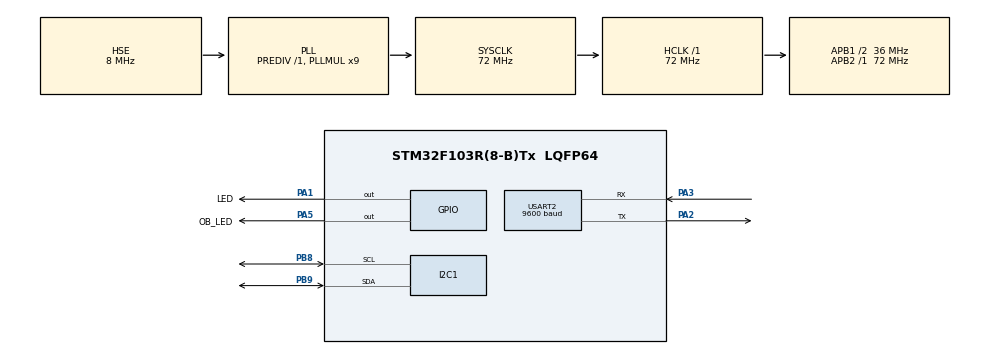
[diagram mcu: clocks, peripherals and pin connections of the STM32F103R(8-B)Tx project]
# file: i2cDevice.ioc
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Mcu.Family=STM32F1
Mcu.Name=STM32F103R(8-B)Tx
Mcu.Package=LQFP64
NVIC.PriorityGroup=NVIC_PRIORITYGROUP_4
NVIC.TIM2_IRQn=true\:0\:0\:false\:false\:true\:true\:true\:true
NVIC.USART2_IRQn=true\:0\:0\:false\:false\:true\:true\:true\:true
PA1.GPIO_Label=LED
PA1.Signal=GPIO_Output
PA13.Mode=Serial_Wire
PA13.Signal=SYS_JTMS-SWDIO
PA14.Mode=Serial_Wire
PA14.Signal=SYS_JTCK-SWCLK
PA2.Mode=Asynchronous
PA2.Signal=USART2_TX
PA3.Mode=Asynchronous
PA3.Signal=USART2_RX
PA5.GPIO_Label=OB_LED
PA5.Signal=GPIO_Output
PB8.Mode=I2C
PB8.Signal=I2C1_SCL
PB9.Mode=I2C
PB9.Signal=I2C1_SDA
PD0-OSC_IN.Mode=HSE-External-Oscillator
PD0-OSC_IN.Signal=RCC_OSC_IN
PD1-OSC_OUT.Mode=HSE-External-Oscillator
PD1-OSC_OUT.Signal=RCC_OSC_OUT
ProjectManager.HeapSize=0x200
ProjectManager.StackSize=0x400
ProjectManager.TargetToolchain=STM32CubeIDE
RCC.AHBFreq_Value=72000000
RCC.APB1CLKDivider=RCC_HCLK_DIV2
RCC.APB1Freq_Value=36000000
RCC.APB1TimFreq_Value=72000000
RCC.APB2Freq_Value=72000000
RCC.APB2TimFreq_Value=72000000
RCC.HCLKFreq_Value=72000000
RCC.PLLMUL=RCC_PLL_MUL9
RCC.PLLSourceVirtual=RCC_PLLSOURCE_HSE
RCC.SYSCLKFreq_VALUE=72000000
RCC.SYSCLKSource=RCC_SYSCLKSOURCE_PLLCLK
RCC.USBFreq_Value=72000000
TIM2.Period=99
TIM2.Prescaler=7199
USART2.BaudRate=9600
USART2.VirtualMode=VM_ASYNC
VP_TIM2_VS_ClockSourceINT.Mode=Internal
board=custom

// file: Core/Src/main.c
/* USER CODE BEGIN Header */
/**
  ******************************************************************************
  * @file           : main.c
  * @brief          : Main program body
  ******************************************************************************
  * @attention
  *
  * <h2><center>&copy; Copyright (c) 2022 STMicroelectronics.
  * All rights reserved.</center></h2>
  *
  * This software component is licensed by ST under BSD 3-Clause license,
  * the "License"; You may not use this file except in compliance with the
  * License. You may obtain a copy of the License at:
  *                        opensource.org/licenses/BSD-3-Clause
  *
  ******************************************************************************
  */
/* USER CODE END Header */
#include "main.h"

/* USER CODE BEGIN Includes */
#include "software_timer.h"
#include "scheduler.h"
#include "i2c-lcd.h"
#include "dht20.h"
#include "uart_reading.h"
/* USER CODE END Includes */

I2C_HandleTypeDef hi2c1;

TIM_HandleTypeDef htim2;

UART_HandleTypeDef huart2;

void SystemClock_Config(void);
static void MX_GPIO_Init(void);
static void MX_I2C1_Init(void);
static void MX_USART2_UART_Init(void);
static void MX_TIM2_Init(void);

/* USER CODE BEGIN 0 */
void HAL_UART_RxCpltCallback(UART_HandleTypeDef *huart){
	if (huart->Instance == USART2){
//		HAL_UART_Transmit(&huart2, &buffer_byte, 1, 500);
		buffer[index_buffer] = buffer_byte;
		index_buffer++;
		if (index_buffer == MAX_BUFFER_SIZE){
			index_buffer = 0;
			rst_buffer();
		}
		buffer_flag = 1;
		HAL_UART_Receive_IT(&huart2, &buffer_byte, 1);
	}
}

void intercep_UartCmd(){
	  if (buffer_flag == 1){
		  cmd_parser_fsm();
		  buffer_flag = 0;
	  }
}
/* USER CODE END 0 */

int main(void)
{

  /* MCU Configuration--------------------------------------------------------*/

  /* Reset of all peripherals, Initializes the Flash interface and the Systick. */
  HAL_Init();

  /* Configure the system clock */
  SystemClock_Config();

  /* Initialize all configured peripherals */
  MX_GPIO_Init();
  MX_I2C1_Init();
  MX_USART2_UART_Init();
  MX_TIM2_Init();
  /* USER CODE BEGIN 2 */
  HAL_TIM_Base_Start_IT(&htim2);
  HAL_UART_Receive_IT(&huart2, &buffer_byte, 1);
  /* USER CODE END 2 */

  /* Infinite loop */
  /* USER CODE BEGIN WHILE */
  //Scan the address of I2C device
  Scan_Addr();
  //MCU & FIRWARE Info
  Mcu_info();
  //Initialization for LCD
  lcd_clear_display();
  lcd_init();
  lcd_greeting();
  //Initialization for DHT-20
  dht20_init();
  setTimer1(300);
  //Add task into scheduler dispatcher
//  SCH_Add_Task(intercep_UartCmd, 0, 1);
//  SCH_Add_Task(uart_control_fsm, 100, 1);
  while (1)
  {
	  //Using timer to synchronize
	  if (buffer_flag == 1){
		  cmd_parser_fsm();
		  buffer_flag = 0;
	  }
	  if(timer1_flag == 1){
		  setTimer1(1);
		  uart_control_fsm();
	  }

	  //Using scheduler dispatcher to synchronize
//	  SCH_Dispatch_Tasks();

	  //Testing hardware
//	  HAL_GPIO_WritePin(LED_GPIO_Port, LED_Pin, RESET);
//	  HAL_Delay(1000);
//	  HAL_GPIO_WritePin(LED_GPIO_Port, LED_Pin, SET);
    /* USER CODE END WHILE */

  }
}

void SystemClock_Config(void)
{
  RCC_OscInitTypeDef RCC_OscInitStruct = {0};
  RCC_ClkInitTypeDef RCC_ClkInitStruct = {0};

  /** Initializes the RCC Oscillators according to the specified parameters
  * in the RCC_OscInitTypeDef structure.
  */
  RCC_OscInitStruct.OscillatorType = RCC_OSCILLATORTYPE_HSE;
  RCC_OscInitStruct.HSEState = RCC_HSE_ON;
  RCC_OscInitStruct.HSEPredivValue = RCC_HSE_PREDIV_DIV1;
  RCC_OscInitStruct.HSIState = RCC_HSI_ON;
  RCC_OscInitStruct.PLL.PLLState = RCC_PLL_ON;
  RCC_OscInitStruct.PLL.PLLSource = RCC_PLLSOURCE_HSE;
  RCC_OscInitStruct.PLL.PLLMUL = RCC_PLL_MUL9;
  if (HAL_RCC_OscConfig(&RCC_OscInitStruct) != HAL_OK)
  {
    Error_Handler();
  }

  /** Initializes the CPU, AHB and APB buses clocks
  */
  RCC_ClkInitStruct.ClockType = RCC_CLOCKTYPE_HCLK|RCC_CLOCKTYPE_SYSCLK
                              |RCC_CLOCKTYPE_PCLK1|RCC_CLOCKTYPE_PCLK2;
  RCC_ClkInitStruct.SYSCLKSource = RCC_SYSCLKSOURCE_PLLCLK;
  RCC_ClkInitStruct.AHBCLKDivider = RCC_SYSCLK_DIV1;
  RCC_ClkInitStruct.APB1CLKDivider = RCC_HCLK_DIV2;
  RCC_ClkInitStruct.APB2CLKDivider = RCC_HCLK_DIV1;

  if (HAL_RCC_ClockConfig(&RCC_ClkInitStruct, FLASH_LATENCY_2) != HAL_OK)
  {
    Error_Handler();
  }
}

static void MX_I2C1_Init(void)
{

  hi2c1.Instance = I2C1;
  hi2c1.Init.ClockSpeed = 100000;
  hi2c1.Init.DutyCycle = I2C_DUTYCYCLE_2;
  hi2c1.Init.OwnAddress1 = 0;
  hi2c1.Init.AddressingMode = I2C_ADDRESSINGMODE_7BIT;
  hi2c1.Init.DualAddressMode = I2C_DUALADDRESS_DISABLE;
  hi2c1.Init.OwnAddress2 = 0;
  hi2c1.Init.GeneralCallMode = I2C_GENERALCALL_DISABLE;
  hi2c1.Init.NoStretchMode = I2C_NOSTRETCH_DISABLE;
  if (HAL_I2C_Init(&hi2c1) != HAL_OK)
  {
    Error_Handler();
  }

}

static void MX_TIM2_Init(void)
{

  TIM_ClockConfigTypeDef sClockSourceConfig = {0};
  TIM_MasterConfigTypeDef sMasterConfig = {0};

  htim2.Instance = TIM2;
  htim2.Init.Prescaler = 7199;
  htim2.Init.CounterMode = TIM_COUNTERMODE_UP;
  htim2.Init.Period = 99;
  htim2.Init.ClockDivision = TIM_CLOCKDIVISION_DIV1;
  htim2.Init.AutoReloadPreload = TIM_AUTORELOAD_PRELOAD_DISABLE;
  if (HAL_TIM_Base_Init(&htim2) != HAL_OK)
  {
    Error_Handler();
  }
  sClockSourceConfig.ClockSource = TIM_CLOCKSOURCE_INTERNAL;
  if (HAL_TIM_ConfigClockSource(&htim2, &sClockSourceConfig) != HAL_OK)
  {
    Error_Handler();
  }
  sMasterConfig.MasterOutputTrigger = TIM_TRGO_RESET;
  sMasterConfig.MasterSlaveMode = TIM_MASTERSLAVEMODE_DISABLE;
  if (HAL_TIMEx_MasterConfigSynchronization(&htim2, &sMasterConfig) != HAL_OK)
  {
    Error_Handler();
  }

}

static void MX_USART2_UART_Init(void)
{

  huart2.Instance = USART2;
  huart2.Init.BaudRate = 9600;
  huart2.Init.WordLength = UART_WORDLENGTH_8B;
  huart2.Init.StopBits = UART_STOPBITS_1;
  huart2.Init.Parity = UART_PARITY_NONE;
  huart2.Init.Mode = UART_MODE_TX_RX;
  huart2.Init.HwFlowCtl = UART_HWCONTROL_NONE;
  huart2.Init.OverSampling = UART_OVERSAMPLING_16;
  if (HAL_UART_Init(&huart2) != HAL_OK)
  {
    Error_Handler();
  }

}

static void MX_GPIO_Init(void)
{
  GPIO_InitTypeDef GPIO_InitStruct = {0};

  /* GPIO Ports Clock Enable */
  __HAL_RCC_GPIOD_CLK_ENABLE();
  __HAL_RCC_GPIOA_CLK_ENABLE();
  __HAL_RCC_GPIOB_CLK_ENABLE();

  /*Configure GPIO pin Output Level */
  HAL_GPIO_WritePin(LED_GPIO_Port, LED_Pin, GPIO_PIN_RESET);

  /*Configure GPIO pin : LED_Pin */
  GPIO_InitStruct.Pin = LED_Pin;
  GPIO_InitStruct.Mode = GPIO_MODE_OUTPUT_PP;
  GPIO_InitStruct.Pull = GPIO_NOPULL;
  GPIO_InitStruct.Speed = GPIO_SPEED_FREQ_LOW;
  HAL_GPIO_Init(LED_GPIO_Port, &GPIO_InitStruct);

}

/* USER CODE BEGIN 4 */
void HAL_TIM_PeriodElapsedCallback(TIM_HandleTypeDef *htim)
{
	timerRun();
	SCH_Update();
}
/* USER CODE END 4 */

void Error_Handler(void)
{
  __disable_irq();
  while (1)
  {
  }
}
